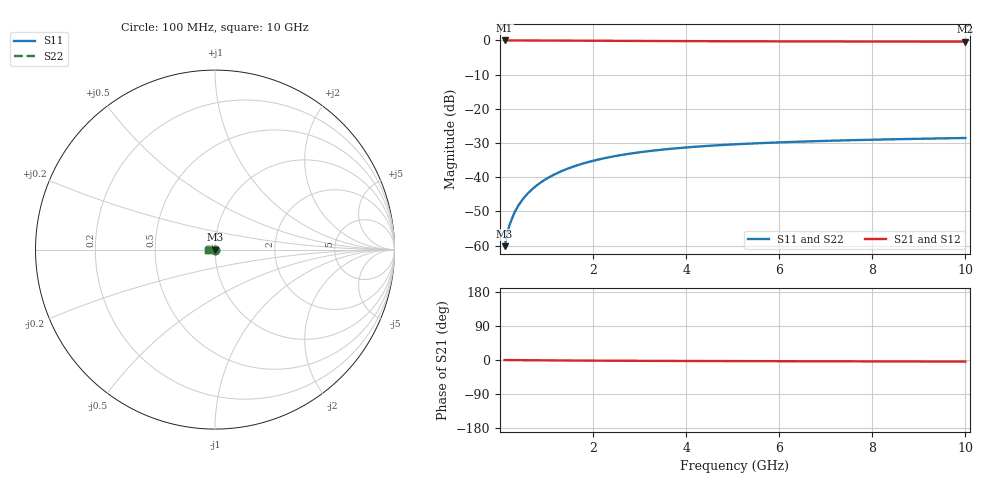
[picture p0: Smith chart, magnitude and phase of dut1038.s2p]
! Touchstone file exported from HFSS 2024.1.0
!  File:  C:/UserFiles/LocalFiles/RDL_TSV_Batchsim/temp_TSV1_1038_1780061434.aedt
!  Generated:  09:34:50 PM May 29, 2026
!  Design:  TSV1
!  Project:  temp_TSV1_1038_1780061434
!  Setup:  Setup1
!  Solution:  Sweep
! Variables:
!  dtsv = 9.65um
!  hbump = 3um
!  htsv = 63.98um
!  lrdl = 252.1521522um
!  p = 40
!  p1 = 45.14um
!  t = 500um
!  trdl = 3um
!  wrdl = 24.89489489um
# GHz S MA R 50.000000
! Terminal data exported
! Port[1] = TSV22_T1
! Port[2] = TSV22_T2
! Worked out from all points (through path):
!   100 points, 100 MHz to 10 GHz, reference 50 ohm
!   highest |S21| = 0.00 dB at 100 MHz (marker M1); lowest = -0.3 dB at 10 GHz (marker M2)
!   lowest |S11| = -60.2 dB at 100 MHz (marker M3), VSWR 1.00, Z = 50 - j0.0975 ohm
!   |S11| at or under -10 dB: start of sweep to end of sweep
!   |S22| runs from -60.2 to -28.5 dB; largest |S21 - S12| = 3.4e-15
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0.1  0.0009811 -83.6  0.9998 -0.1  0.9998 -0.1  0.0009811 -83.6
! Gamma 0 0 0 0
! Port Impedance 50 0 50 0
0.2  0.001952 -89.1  0.9997 -0.2  0.9997 -0.2  0.001952 -89.1
0.3  0.002927 -92.1  0.9996 -0.3  0.9996 -0.3  0.002927 -92.1
0.4  0.003898 -94.4  0.9993 -0.4  0.9993 -0.4  0.003898 -94.4
0.5  0.004862 -96.5  0.9991 -0.5  0.9991 -0.5  0.004862 -96.5
0.6  0.005817 -98.5  0.9988 -0.6  0.9988 -0.6  0.005817 -98.5
0.7  0.006759 -100.4  0.9984 -0.7  0.9984 -0.7  0.006759 -100.4
0.8  0.007688 -102.2  0.998 -0.8  0.998 -0.8  0.007688 -102.2
0.9  0.008601 -104.0  0.9975 -0.9  0.9975 -0.9  0.008601 -104.0
1.1  0.01038 -107.3  0.9965 -1.0  0.9965 -1.0  0.01038 -107.3
1.4  0.0129 -112.1  0.9947 -1.3  0.9947 -1.3  0.0129 -112.1
1.6  0.01448 -115.2  0.9934 -1.4  0.9934 -1.4  0.01448 -115.2
1.8  0.01597 -118.1  0.992 -1.5  0.992 -1.5  0.01597 -118.1
2.1  0.01804 -122.3  0.9899 -1.7  0.9899 -1.7  0.01804 -122.3
2.5  0.02051 -127.4  0.9871 -2.0  0.9871 -2.0  0.02051 -127.4
2.9  0.02266 -132.1  0.9844 -2.2  0.9844 -2.2  0.02266 -132.1
3.4  0.02496 -137.4  0.9812 -2.4  0.9812 -2.4  0.02496 -137.4
4.2  0.02789 -144.8  0.9767 -2.6  0.9767 -2.6  0.02789 -144.8
5.1  0.03039 -151.8  0.9726 -2.9  0.9726 -2.9  0.03039 -151.8
6.7  0.03352 -161.7  0.9673 -3.3  0.9673 -3.3  0.03352 -161.7
8.4  0.03582 -170.1  0.9636 -3.8  0.9636 -3.8  0.03582 -170.1
10  0.03746 -176.7  0.9611 -4.2  0.9611 -4.2  0.03746 -176.7
